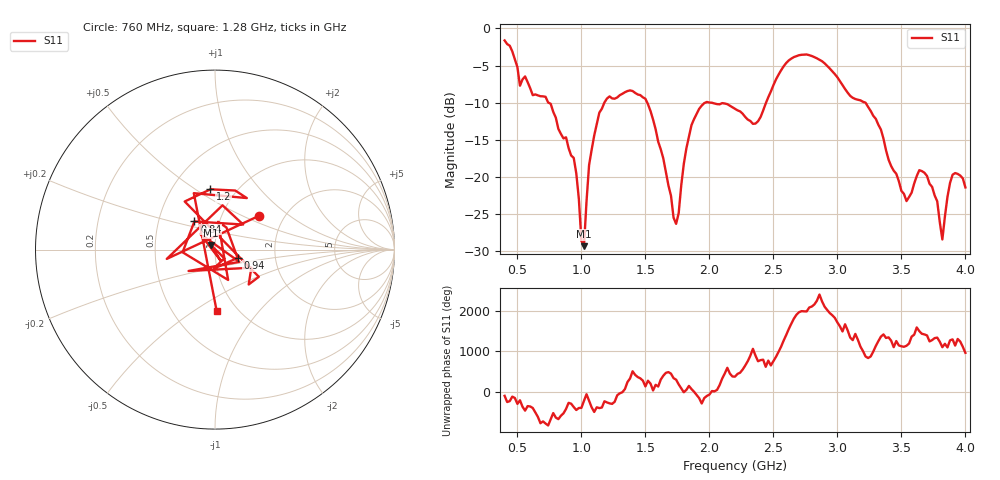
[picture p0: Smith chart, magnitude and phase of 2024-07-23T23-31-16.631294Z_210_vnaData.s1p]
!Created with skrf (http://scikit-rf.org).
# Hz S RI R 50.0
!freq ReS11 ImS11
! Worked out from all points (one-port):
!   181 points, 400 MHz to 4 GHz, reference 50 ohm
!   lowest |S11| = -29.4 dB at 1.02 GHz (marker M1), VSWR 1.07, Z = 47.7 + j2.39 ohm
!   |S11| at or under -10 dB: 1.514 GHz to 1.969 GHz (455.4 MHz wide, 26.1 % of centre); 2.003 GHz to 2.443 GHz (440 MHz wide, 19.8 % of centre); 3.218 GHz to end of sweep (the widest 3 of 4)
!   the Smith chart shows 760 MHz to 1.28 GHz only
!   S11 on the Smith chart (normalised r, x): 760 MHz: 1.50, +0.63; 840 MHz: 0.76, +0.25; 940 MHz: 1.28, -0.12; 1.2 GHz: 0.76, +0.58; 1.28 GHz: 0.80, -0.62
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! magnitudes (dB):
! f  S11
! 400 MHz  -1.6
! 520 MHz  -7.7
! 760 MHz  -10.2
! 840 MHz  -14.2
! 860 MHz  -14.8
! 940 MHz  -17.5
! 1 GHz  -28.7
! 1.02 GHz  -29.4
! 1.06 GHz  -18.4
! 1.2 GHz  -9.5
! 1.28 GHz  -9.3
! 1.3 GHz  -9.0
! 1.5 GHz  -9.5
! 1.72 GHz  -25.5
! 1.76 GHz  -24.9
! 1.82 GHz  -16.2
! 1.92 GHz  -10.8
! 2.2 GHz  -10.8
! 2.36 GHz  -12.8
! 2.66 GHz  -3.9
! 3.1 GHz  -9.1
! 3.3 GHz  -12.2
! 3.56 GHz  -22.7
! 3.7 GHz  -19.9
! 3.78 GHz  -23.3
! 3.82 GHz  -28.5
! 3.9 GHz  -19.7
! 4 GHz  -21.4
